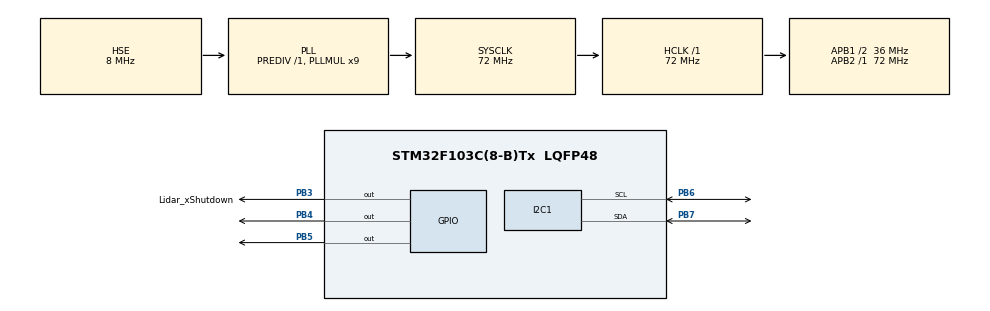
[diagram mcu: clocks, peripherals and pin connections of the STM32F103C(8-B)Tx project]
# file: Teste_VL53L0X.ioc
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Mcu.Family=STM32F1
Mcu.Name=STM32F103C(8-B)Tx
Mcu.Package=LQFP48
NVIC.PriorityGroup=NVIC_PRIORITYGROUP_4
PA13.Mode=Serial_Wire
PA13.Signal=SYS_JTMS-SWDIO
PA14.Mode=Serial_Wire
PA14.Signal=SYS_JTCK-SWCLK
PB3.GPIO_Label=Lidar_xShutdown
PB3.Signal=GPIO_Output
PB4.Signal=GPIO_Output
PB5.Signal=GPIO_Output
PB6.Mode=I2C
PB6.Signal=I2C1_SCL
PB7.Mode=I2C
PB7.Signal=I2C1_SDA
PD0-OSC_IN.Mode=HSE-External-Oscillator
PD0-OSC_IN.Signal=RCC_OSC_IN
PD1-OSC_OUT.Mode=HSE-External-Oscillator
PD1-OSC_OUT.Signal=RCC_OSC_OUT
ProjectManager.HeapSize=0x200
ProjectManager.StackSize=0x400
ProjectManager.TargetToolchain=STM32CubeIDE
RCC.AHBFreq_Value=72000000
RCC.APB1CLKDivider=RCC_HCLK_DIV2
RCC.APB1Freq_Value=36000000
RCC.APB1TimFreq_Value=72000000
RCC.APB2Freq_Value=72000000
RCC.APB2TimFreq_Value=72000000
RCC.HCLKFreq_Value=72000000
RCC.PLLMUL=RCC_PLL_MUL9
RCC.PLLSourceVirtual=RCC_PLLSOURCE_HSE
RCC.SYSCLKFreq_VALUE=72000000
RCC.SYSCLKSource=RCC_SYSCLKSOURCE_PLLCLK
RCC.USBFreq_Value=72000000
board=custom

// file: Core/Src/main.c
/* USER CODE BEGIN Header */
/**
  ******************************************************************************
  * @file           : main.c
  * @brief          : Main program body
  ******************************************************************************
  * @attention
  *
  * Copyright (c) 2026 STMicroelectronics.
  * All rights reserved.
  *
  * This software is licensed under terms that can be found in the LICENSE file
  * in the root directory of this software component.
  * If no LICENSE file comes with this software, it is provided AS-IS.
  *
  ******************************************************************************
  */
/* USER CODE END Header */
#include "main.h"

/* USER CODE BEGIN Includes */
#include "vl53l0x_api.h"
/* USER CODE END Includes */

/* USER CODE BEGIN PTD */
typedef enum {
    LIDAR_OK = 0,
    LIDAR_FAULT,
    LIDAR_RECOVERING
} LidarState_t;

typedef struct {
    VL53L0X_DEV dev;
    GPIO_TypeDef *xshut_port;
    uint16_t xshut_pin;
    uint8_t target_addr;      // endereço final do sensor (0x64, 0x5A, 0x52...)
    LidarState_t state;
    uint8_t fail_count;
    uint32_t recover_tick;
    uint8_t recover_step;
    uint8_t recover_attempts;
    uint8_t in_queue;
} LidarSensor_t;
/* USER CODE END PTD */
/* USER CODE END PTD */

I2C_HandleTypeDef hi2c1;

/* USER CODE BEGIN PV */

#define LIDAR_FAIL_THRESHOLD   5     // Numero de falhas seguidas antes de disparar recovery
#define LIDAR_RECOVER_DELAY_MS 20

LidarSensor_t *recovery_queue[3];
uint8_t queue_head = 0;
uint8_t queue_tail = 0;
uint8_t queue_count = 0;

LidarSensor_t sensors[3];

//---------- Dados lidos pelos sensores -----------------
VL53L0X_RangingMeasurementData_t RangingData;
VL53L0X_RangingMeasurementData_t RangingData2;
VL53L0X_RangingMeasurementData_t RangingData3;
//------------------------------------------------------

VL53L0X_Dev_t vl53l0x_c;
VL53L0X_Dev_t vl53l0x_c2;
VL53L0X_Dev_t vl53l0x_c3;
VL53L0X_DEV Dev = &vl53l0x_c;
VL53L0X_DEV Dev2 = &vl53l0x_c2;
VL53L0X_DEV Dev3 = &vl53l0x_c3;

//=================VARIÁVEIS DE DEBUG====================
uint8_t address; 			//Endereço do sensor I2C do sensor
VL53L0X_Error status; 		//status da leitura I2C (0 é ok)
VL53L0X_Error status2;
VL53L0X_Error status3;
HAL_StatusTypeDef ret; 		// Verifica a comunicação I2C
uint8_t test = 0; 			// Verifica se as conexões de hardware estão ok

uint8_t bus_scan[128];

uint16_t distancia1;
uint16_t distancia2;
uint16_t distancia3;
/* USER CODE END PV */

void SystemClock_Config(void);
static void MX_GPIO_Init(void);
static void MX_I2C1_Init(void);

/* USER CODE BEGIN 0 */
void LidarInit(VL53L0X_DEV Dev) {
	uint32_t refSpadCount;
	uint8_t isApertureSpads;
	uint8_t VhvSettings;
	uint8_t PhaseCal;

	VL53L0X_WaitDeviceBooted(Dev);
	VL53L0X_DataInit(Dev);
	VL53L0X_StaticInit(Dev);
	VL53L0X_PerformRefCalibration(Dev, &VhvSettings, &PhaseCal);
	VL53L0X_PerformRefSpadManagement(Dev, &refSpadCount, &isApertureSpads);
	VL53L0X_SetDeviceMode(Dev, VL53L0X_DEVICEMODE_SINGLE_RANGING);

	VL53L0X_SetLimitCheckEnable(Dev, VL53L0X_CHECKENABLE_SIGMA_FINAL_RANGE, 1);
	VL53L0X_SetLimitCheckEnable(Dev, VL53L0X_CHECKENABLE_SIGNAL_RATE_FINAL_RANGE, 1);
	VL53L0X_SetLimitCheckValue(Dev, VL53L0X_CHECKENABLE_SIGNAL_RATE_FINAL_RANGE, (FixPoint1616_t)(0.25*65536));
	VL53L0X_SetLimitCheckValue(Dev, VL53L0X_CHECKENABLE_SIGMA_FINAL_RANGE, (FixPoint1616_t)(60*65536));
	VL53L0X_SetMeasurementTimingBudgetMicroSeconds(Dev, 33000);
	VL53L0X_SetVcselPulsePeriod(Dev, VL53L0X_VCSEL_PERIOD_PRE_RANGE, 18);
	VL53L0X_SetVcselPulsePeriod(Dev, VL53L0X_VCSEL_PERIOD_FINAL_RANGE, 14);

}

static void I2C_ScanBus(void)
{
    for (uint8_t addr = 1; addr < 128; addr++) {
        bus_scan[addr] = (HAL_I2C_IsDeviceReady(&hi2c1, addr << 1, 1, 5) == HAL_OK);
    }
}

//FUNÇÃO PARA CHECAR SE O SENSOR AINDA ESTÁ FUNCIONANDO
static uint8_t LidarIsAlive(uint8_t i2c_addr_shifted)
{
	return (HAL_I2C_IsDeviceReady(&hi2c1, i2c_addr_shifted, 1, 5) == HAL_OK);
}

//----------------- FILA DE RECONEXAO ---------------------------
static void QueuePush(LidarSensor_t *s)
{
    if (queue_count >= 3) return; // já na fila, nunca deveria estourar
    recovery_queue[queue_tail] = s;
    queue_tail = (queue_tail + 1) % 3;
    queue_count++;
}

static LidarSensor_t* QueuePeek(void)
{
    if (queue_count == 0) return NULL;
    return recovery_queue[queue_head];
}

static void QueuePop(void)
{
    if (queue_count == 0) return;
    queue_head = (queue_head + 1) % 3;
    queue_count--;
}

static void LidarRecoveryStep(LidarSensor_t *s)
{
	uint32_t now = HAL_GetTick();
	if (now - s->recover_tick < LIDAR_RECOVER_DELAY_MS) {
		return;
	}
	s->recover_tick = now;

	switch (s->recover_step)
	{
	case 0: // desliga o sensor via XSHUT
		HAL_GPIO_WritePin(s->xshut_port, s->xshut_pin, GPIO_PIN_RESET);
		s->recover_step = 1;
		break;

	case 1: // liga de novo
		HAL_GPIO_WritePin(s->xshut_port, s->xshut_pin, GPIO_PIN_SET);
		s->recover_step = 2;
		break;

	case 2: // reatribui endereço e reinicializa driver
		s->dev->I2cDevAddr = 0x52;
		VL53L0X_WaitDeviceBooted(s->dev);
		if (LidarIsAlive(0x52)) {
			VL53L0X_DataInit(s->dev);
			if (s->target_addr != 0x52) {
				VL53L0X_SetDeviceAddress(s->dev, s->target_addr);
				s->dev->I2cDevAddr = s->target_addr;
			}
			VL53L0X_SetDeviceMode(s->dev, VL53L0X_DEVICEMODE_SINGLE_RANGING);
			VL53L0X_StaticInit(s->dev);
			LidarInit(s->dev);
			VL53L0X_StartMeasurement(s->dev);

			s->state = LIDAR_OK;
			s->fail_count = 0;
			s->recover_attempts = 0;
		} else {
			s->recover_attempts++;
		}
		s->recover_step = 0;
		break;
	}
}

//detecta se o sensor está conectado
static void LidarUpdate(LidarSensor_t *s)
{
	if (s->state == LIDAR_FAULT && !s->in_queue) {
		HAL_GPIO_WritePin(s->xshut_port, s->xshut_pin, GPIO_PIN_RESET); // isola do barramento até ser a vez dele
		s->in_queue = 1;
		QueuePush(s);
	}
}

static void RecoveryDispatcher(void)
{
    LidarSensor_t *s = QueuePeek();
    if (s == NULL) return;

    if (s->state != LIDAR_RECOVERING) {
        s->state = LIDAR_RECOVERING;
        s->recover_step = 0;
        s->recover_attempts = 0;
        s->recover_tick = HAL_GetTick();
    }

    LidarRecoveryStep(s);

    if (s->state == LIDAR_OK) {
        s->in_queue = 0;
        QueuePop();
    } else if (s->recover_attempts >= 10) {
        HAL_GPIO_WritePin(s->xshut_port, s->xshut_pin, GPIO_PIN_RESET); // isola de novo enquanto espera a próxima vez
        s->state = LIDAR_FAULT;
        s->recover_attempts = 0;
        QueuePop();
        QueuePush(s);
        // in_queue continua 1, o sensor nunca sai de fato da fila
    }
}

// Chame isso depois de cada medição, passando o status retornado
static void LidarReportStatus(LidarSensor_t *s, VL53L0X_Error status)
{
	if (status != VL53L0X_ERROR_NONE) {
		s->fail_count++;
		if (s->fail_count >= LIDAR_FAIL_THRESHOLD) {
			s->state = LIDAR_FAULT;
		}
	} else {
		s->fail_count = 0;
	}
}

/* USER CODE END 0 */

int main(void)
{

  /* MCU Configuration--------------------------------------------------------*/

  /* Reset of all peripherals, Initializes the Flash interface and the Systick. */
  HAL_Init();

  /* Configure the system clock */
  SystemClock_Config();

  /* Initialize all configured peripherals */
  MX_GPIO_Init();
  MX_I2C1_Init();
  /* USER CODE BEGIN 2 */

  	//--------------Configurando os pinos Xshut------------------

	HAL_GPIO_WritePin(Lidar_xShutdown_GPIO_Port, Lidar_xShutdown_Pin, GPIO_PIN_RESET);
	HAL_GPIO_WritePin(GPIOB, GPIO_PIN_4, GPIO_PIN_RESET);
	HAL_GPIO_WritePin(GPIOB, GPIO_PIN_5, GPIO_PIN_RESET);
	HAL_Delay(20);

	//------------------ sensor3 ---------------------------
	HAL_GPIO_WritePin(GPIOB, GPIO_PIN_5, GPIO_PIN_SET);
	HAL_Delay(20);
	Dev3->I2cHandle = &hi2c1;
	Dev3->I2cDevAddr = 0x52;

	VL53L0X_DataInit(Dev3);
	VL53L0X_SetDeviceAddress(Dev3, 0x64);
	Dev3->I2cDevAddr = 0x64;
	//	LidarInit2();

	VL53L0X_SetDeviceMode(Dev3, VL53L0X_DEVICEMODE_SINGLE_RANGING);
	VL53L0X_StaticInit(Dev3);
	LidarInit(Dev3);
	VL53L0X_StartMeasurement(Dev3);

	//------------------ sensor2 ---------------------------
	HAL_GPIO_WritePin(GPIOB, GPIO_PIN_4, GPIO_PIN_SET);
	HAL_Delay(20);
	Dev2->I2cHandle = &hi2c1;
	Dev2->I2cDevAddr = 0x52;

	VL53L0X_DataInit(Dev2);
	VL53L0X_SetDeviceAddress(Dev2, 0x5A);
	Dev2->I2cDevAddr = 0x5A;

	VL53L0X_SetDeviceMode(Dev2, VL53L0X_DEVICEMODE_SINGLE_RANGING);
	VL53L0X_StaticInit(Dev2);
	LidarInit(Dev2);
	VL53L0X_StartMeasurement(Dev2);

	//------------------ sensor1 ---------------------------
	HAL_GPIO_WritePin(Lidar_xShutdown_GPIO_Port, Lidar_xShutdown_Pin, GPIO_PIN_SET);
	HAL_Delay(20);
	Dev->I2cHandle = &hi2c1;
	Dev->I2cDevAddr = 0x52;
	VL53L0X_SetDeviceAddress(Dev, 0x30);
	Dev->I2cDevAddr = 0x30;
	VL53L0X_SetDeviceMode(Dev, VL53L0X_DEVICEMODE_SINGLE_RANGING);
	VL53L0X_StaticInit(Dev);
	LidarInit(Dev);
	VL53L0X_StartMeasurement(Dev);

    HAL_Delay(20);

	ret = HAL_I2C_Mem_Read(
	    &hi2c1,
	    0x64,
	    0xC0,
	    I2C_MEMADD_SIZE_8BIT,
	    &test,
	    1,
	    100
	);

	sensors[0] = (LidarSensor_t){ Dev,  Lidar_xShutdown_GPIO_Port, Lidar_xShutdown_Pin, 0x30, LIDAR_OK, 0, 0, 0 };
	sensors[1] = (LidarSensor_t){ Dev2, GPIOB, GPIO_PIN_4, 0x5A, LIDAR_OK, 0, 0, 0 };
	sensors[2] = (LidarSensor_t){ Dev3, GPIOB, GPIO_PIN_5, 0x64, LIDAR_OK, 0, 0, 0 };

  /* USER CODE END 2 */

  /* Infinite loop */
  /* USER CODE BEGIN WHILE */
  while (1)
  {
	  if (sensors[0].state == LIDAR_OK) {
		  status = VL53L0X_PerformSingleRangingMeasurement(Dev, &RangingData);
		  LidarReportStatus(&sensors[0], status);
	  }
	  LidarUpdate(&sensors[0]);

	  if (sensors[1].state == LIDAR_OK) {
		  status2 = VL53L0X_PerformSingleRangingMeasurement(Dev2, &RangingData2);
		  LidarReportStatus(&sensors[1], status2);
	  }
	  LidarUpdate(&sensors[1]);

	  if (sensors[2].state == LIDAR_OK) {
		  status3 = VL53L0X_PerformSingleRangingMeasurement(Dev3, &RangingData3);
		  LidarReportStatus(&sensors[2], status3);
	  }
	  LidarUpdate(&sensors[2]);

	  RecoveryDispatcher();   // <-- adicionado, processa só o da frente da fila

	  if (status == VL53L0X_ERROR_NONE && RangingData.RangeStatus == 0) {
		  distancia1 = RangingData.RangeMilliMeter;
	  }
	  if (status2 == VL53L0X_ERROR_NONE && RangingData2.RangeStatus == 0) {
		  distancia2 = RangingData2.RangeMilliMeter;
	  }
	  if (status3 == VL53L0X_ERROR_NONE && RangingData3.RangeStatus == 0) {
		  distancia3 = RangingData3.RangeMilliMeter;
	  }

    /* USER CODE END WHILE */

  }
}

void SystemClock_Config(void)
{
  RCC_OscInitTypeDef RCC_OscInitStruct = {0};
  RCC_ClkInitTypeDef RCC_ClkInitStruct = {0};

  /** Initializes the RCC Oscillators according to the specified parameters
  * in the RCC_OscInitTypeDef structure.
  */
  RCC_OscInitStruct.OscillatorType = RCC_OSCILLATORTYPE_HSE;
  RCC_OscInitStruct.HSEState = RCC_HSE_ON;
  RCC_OscInitStruct.HSEPredivValue = RCC_HSE_PREDIV_DIV1;
  RCC_OscInitStruct.HSIState = RCC_HSI_ON;
  RCC_OscInitStruct.PLL.PLLState = RCC_PLL_ON;
  RCC_OscInitStruct.PLL.PLLSource = RCC_PLLSOURCE_HSE;
  RCC_OscInitStruct.PLL.PLLMUL = RCC_PLL_MUL9;
  if (HAL_RCC_OscConfig(&RCC_OscInitStruct) != HAL_OK)
  {
    Error_Handler();
  }

  /** Initializes the CPU, AHB and APB buses clocks
  */
  RCC_ClkInitStruct.ClockType = RCC_CLOCKTYPE_HCLK|RCC_CLOCKTYPE_SYSCLK
                              |RCC_CLOCKTYPE_PCLK1|RCC_CLOCKTYPE_PCLK2;
  RCC_ClkInitStruct.SYSCLKSource = RCC_SYSCLKSOURCE_PLLCLK;
  RCC_ClkInitStruct.AHBCLKDivider = RCC_SYSCLK_DIV1;
  RCC_ClkInitStruct.APB1CLKDivider = RCC_HCLK_DIV2;
  RCC_ClkInitStruct.APB2CLKDivider = RCC_HCLK_DIV1;

  if (HAL_RCC_ClockConfig(&RCC_ClkInitStruct, FLASH_LATENCY_2) != HAL_OK)
  {
    Error_Handler();
  }
}

static void MX_I2C1_Init(void)
{

  hi2c1.Instance = I2C1;
  hi2c1.Init.ClockSpeed = 100000;
  hi2c1.Init.DutyCycle = I2C_DUTYCYCLE_2;
  hi2c1.Init.OwnAddress1 = 0;
  hi2c1.Init.AddressingMode = I2C_ADDRESSINGMODE_7BIT;
  hi2c1.Init.DualAddressMode = I2C_DUALADDRESS_DISABLE;
  hi2c1.Init.OwnAddress2 = 0;
  hi2c1.Init.GeneralCallMode = I2C_GENERALCALL_DISABLE;
  hi2c1.Init.NoStretchMode = I2C_NOSTRETCH_DISABLE;
  if (HAL_I2C_Init(&hi2c1) != HAL_OK)
  {
    Error_Handler();
  }

}

static void MX_GPIO_Init(void)
{
  GPIO_InitTypeDef GPIO_InitStruct = {0};

  /* GPIO Ports Clock Enable */
  __HAL_RCC_GPIOD_CLK_ENABLE();
  __HAL_RCC_GPIOA_CLK_ENABLE();
  __HAL_RCC_GPIOB_CLK_ENABLE();

  /*Configure GPIO pin Output Level */
  HAL_GPIO_WritePin(GPIOB, Lidar_xShutdown_Pin|GPIO_PIN_4|GPIO_PIN_5, GPIO_PIN_RESET);

  /*Configure GPIO pins : Lidar_xShutdown_Pin PB4 PB5 */
  GPIO_InitStruct.Pin = Lidar_xShutdown_Pin|GPIO_PIN_4|GPIO_PIN_5;
  GPIO_InitStruct.Mode = GPIO_MODE_OUTPUT_PP;
  GPIO_InitStruct.Pull = GPIO_NOPULL;
  GPIO_InitStruct.Speed = GPIO_SPEED_FREQ_LOW;
  HAL_GPIO_Init(GPIOB, &GPIO_InitStruct);

}

void Error_Handler(void)
{
  __disable_irq();
  while (1)
  {
  }
}
